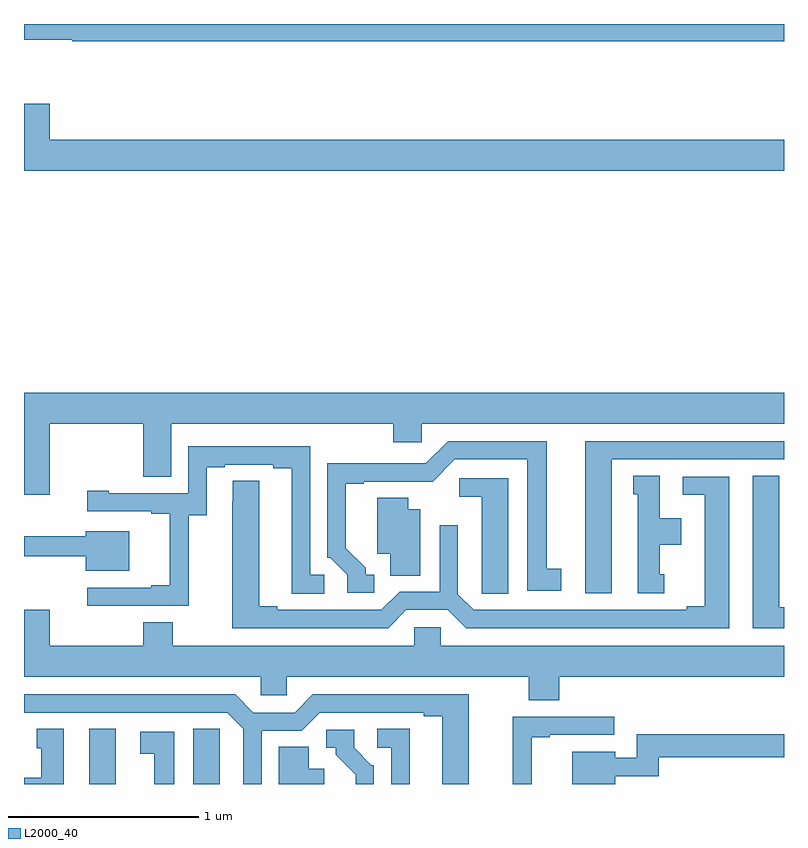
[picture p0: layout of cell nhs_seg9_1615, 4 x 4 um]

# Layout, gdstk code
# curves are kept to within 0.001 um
import gdstk
lib = gdstk.Library(unit=1e-6, precision=1e-09)
def R(c, l, rs):  # rectangles x0, y0, x1, y1
    for r in rs: c.add(gdstk.rectangle(r[:2], r[2:], *l))
def P(c, l, *ps):  # polygons
    for p in ps: c.add(gdstk.Polygon(p, *l))
L2000_40 = (2000, 40)

nhs_seg9_1615 = lib.new_cell('nhs_seg9_1615')
R(nhs_seg9_1615, L2000_40, [(201.344,1218.5,201.484,1218.79)])
P(nhs_seg9_1615, L2000_40, [(205,1222.5),(201,1222.5),(201,1222.416),(201.255,1222.416),(201.255,1222.408),(205,1222.408)],
  [(205,1221.892),(201.136,1221.892),(201.136,1222.081),(201,1222.081),(201,1221.728),(205,1221.728)],
  [(201.136,1220.396),(201.628,1220.396),(201.628,1220.116),(201.775,1220.116),(201.775,1220.396),(202.943,1220.396),(202.943,1220.298),(203.094,1220.298),(203.094,1220.396),(205,1220.396),(205,1220.56),(201,1220.56),(201,1220.022),(201.136,1220.022)],
  [(202.843,1219.602),(202.798,1219.602),(202.798,1219.637),(202.693,1219.742),(202.693,1220.079),(202.789,1220.079),(202.789,1220.091),(203.15,1220.09),(203.268,1220.208),(203.648,1220.208),(203.648,1219.518),(203.827,1219.518),(203.827,1219.634),(203.752,1219.634),(203.752,1220.304),(203.232,1220.304),(203.115,1220.187),(202.859,1220.187),(202.859,1220.189),(202.596,1220.189),(202.596,1219.692),(202.611,1219.692),(202.701,1219.602),(202.701,1219.506),(202.843,1219.506)],
  [(204.094,1220.208),(205,1220.208),(205,1220.304),(203.954,1220.304),(203.954,1219.503),(204.094,1219.503)],
  [(201.867,1219.915),(201.961,1219.915),(201.961,1220.166),(202.057,1220.166),(202.057,1220.181),(202.313,1220.181),(202.313,1220.161),(202.409,1220.161),(202.409,1219.501),(202.579,1219.501),(202.579,1219.602),(202.506,1219.602),(202.506,1220.277),(201.864,1220.277),(201.864,1220.031),(201.445,1220.031),(201.445,1220.044),(201.333,1220.044),(201.333,1219.935),(201.671,1219.935),(201.671,1219.923),(201.767,1219.923),(201.767,1219.546),(201.671,1219.546),(201.671,1219.533),(201.333,1219.533),(201.333,1219.437),(201.867,1219.437)],
  [(204.37,1219.605),(204.346,1219.605),(204.346,1219.76),(204.46,1219.76),(204.46,1219.9),(204.346,1219.9),(204.346,1220.123),(204.206,1220.123),(204.206,1220.025),(204.23,1220.025),(204.23,1219.503),(204.37,1219.503)],
  [(205,1219.431),(204.976,1219.431),(204.976,1220.123),(204.836,1220.123),(204.836,1219.32),(205,1219.32)],
  [(203.013,1219.416),(203.231,1219.416),(203.327,1219.32),(204.712,1219.32),(204.712,1220.118),(204.468,1220.118),(204.468,1220.022),(204.584,1220.022),(204.584,1219.436),(204.488,1219.436),(204.488,1219.416),(203.367,1219.416),(203.283,1219.5),(203.283,1219.861),(203.187,1219.861),(203.187,1219.512),(202.977,1219.512),(202.881,1219.416),(202.333,1219.416),(202.333,1219.436),(202.237,1219.436),(202.237,1220.096),(202.098,1220.096),(202.097,1219.32),(202.917,1219.32)],
  [(203.548,1220.109),(203.292,1220.109),(203.292,1220.012),(203.408,1220.012),(203.408,1219.609),(203.409,1219.609),(203.409,1219.501),(203.548,1219.501)],
  [(203.086,1219.945),(203.023,1219.945),(203.023,1220.006),(202.859,1220.006),(202.859,1219.712),(202.928,1219.712),(202.928,1219.597),(203.086,1219.597)],
  [(201.553,1219.831),(201.326,1219.831),(201.326,1219.803),(201,1219.803),(201,1219.699),(201.326,1219.699),(201.326,1219.622),(201.553,1219.622)],
  [(203.816,1219.064),(205,1219.064),(205,1219.228),(203.193,1219.228),(203.193,1219.326),(203.055,1219.326),(203.055,1219.228),(201.783,1219.228),(201.783,1219.352),(201.628,1219.352),(201.628,1219.228),(201.136,1219.228),(201.136,1219.417),(201,1219.417),(201,1219.064),(202.245,1219.064),(202.245,1218.966),(202.383,1218.966),(202.383,1219.064),(203.656,1219.064),(203.656,1218.94),(203.816,1218.94)],
  [(202.251,1218.78),(202.461,1218.78),(202.557,1218.876),(203.105,1218.876),(203.105,1218.856),(203.201,1218.856),(203.201,1218.5),(203.341,1218.5),(203.341,1218.972),(202.521,1218.972),(202.425,1218.876),(202.207,1218.876),(202.111,1218.972),(201,1218.972),(201,1218.876),(202.071,1218.876),(202.155,1218.792),(202.155,1218.5),(202.251,1218.5)],
  [(203.672,1218.747),(203.767,1218.747),(203.767,1218.759),(204.106,1218.759),(204.106,1218.855),(203.572,1218.855),(203.572,1218.5),(203.672,1218.5)],
  [(203.029,1218.791),(202.86,1218.791),(202.86,1218.69),(202.932,1218.69),(202.932,1218.5),(203.029,1218.5)],
  [(202.03,1218.683),(202.029,1218.683),(202.029,1218.791),(201.89,1218.791),(201.89,1218.5),(202.03,1218.5)],
  [(201.208,1218.79),(201.068,1218.79),(201.068,1218.687),(201.092,1218.687),(201.092,1218.532),(201,1218.532),(201,1218.5),(201.208,1218.5)],
  [(202.842,1218.6),(202.827,1218.6),(202.737,1218.69),(202.737,1218.786),(202.59,1218.786),(202.59,1218.69),(202.64,1218.69),(202.64,1218.655),(202.745,1218.55),(202.745,1218.5),(202.842,1218.5)],
  [(201.79,1218.774),(201.612,1218.774),(201.612,1218.658),(201.686,1218.658),(201.686,1218.5),(201.79,1218.5)],
  [(204.112,1218.541),(204.341,1218.541),(204.341,1218.642),(205,1218.642),(205,1218.763),(204.225,1218.763),(204.225,1218.639),(204.112,1218.639),(204.112,1218.67),(203.885,1218.67),(203.885,1218.5),(204.112,1218.5)],
  [(202.579,1218.58),(202.498,1218.58),(202.498,1218.695),(202.34,1218.695),(202.34,1218.5),(202.579,1218.5)])

lib.write_gds('nhs_seg9_1615.gds')
